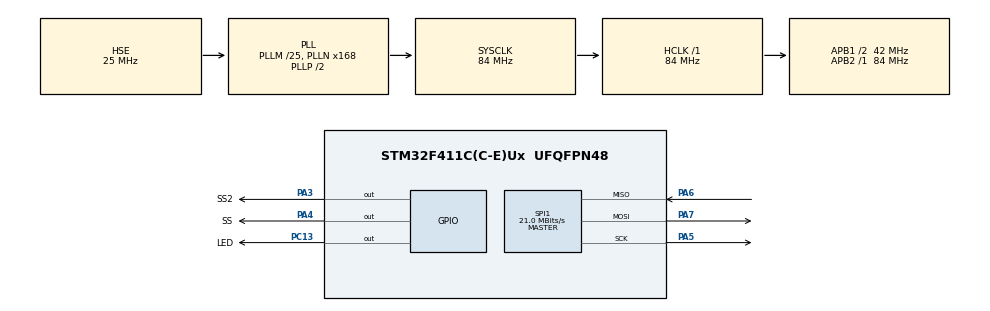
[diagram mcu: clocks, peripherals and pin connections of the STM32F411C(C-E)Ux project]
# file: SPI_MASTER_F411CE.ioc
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Dma.Request0=SPI1_RX
Dma.SPI1_RX.0.Direction=DMA_PERIPH_TO_MEMORY
Dma.SPI1_RX.0.FIFOMode=DMA_FIFOMODE_DISABLE
Dma.SPI1_RX.0.Instance=DMA2_Stream0
Dma.SPI1_RX.0.MemDataAlignment=DMA_MDATAALIGN_BYTE
Dma.SPI1_RX.0.MemInc=DMA_MINC_DISABLE
Dma.SPI1_RX.0.Mode=DMA_NORMAL
Dma.SPI1_RX.0.PeriphDataAlignment=DMA_PDATAALIGN_BYTE
Dma.SPI1_RX.0.PeriphInc=DMA_PINC_DISABLE
Dma.SPI1_RX.0.Priority=DMA_PRIORITY_VERY_HIGH
Mcu.Family=STM32F4
Mcu.Name=STM32F411C(C-E)Ux
Mcu.Package=UFQFPN48
NVIC.DMA2_Stream0_IRQn=true\:0\:0\:false\:false\:true\:false\:true\:true
NVIC.PriorityGroup=NVIC_PRIORITYGROUP_4
PA13.Mode=Serial_Wire
PA13.Signal=SYS_JTMS-SWDIO
PA14.Mode=Serial_Wire
PA14.Signal=SYS_JTCK-SWCLK
PA3.GPIO_Label=SS2
PA3.GPIO_Speed=GPIO_SPEED_FREQ_MEDIUM
PA3.Signal=GPIO_Output
PA4.GPIO_Label=SS
PA4.GPIO_Speed=GPIO_SPEED_FREQ_MEDIUM
PA4.Signal=GPIO_Output
PA5.Mode=Full_Duplex_Master
PA5.Signal=SPI1_SCK
PA6.Mode=Full_Duplex_Master
PA6.Signal=SPI1_MISO
PA7.Mode=Full_Duplex_Master
PA7.Signal=SPI1_MOSI
PC13-ANTI_TAMP.GPIO_Label=LED
PC13-ANTI_TAMP.Signal=GPIO_Output
PH0\ -\ OSC_IN.Mode=HSE-External-Oscillator
PH0\ -\ OSC_IN.Signal=RCC_OSC_IN
PH1\ -\ OSC_OUT.Mode=HSE-External-Oscillator
PH1\ -\ OSC_OUT.Signal=RCC_OSC_OUT
ProjectManager.HeapSize=0x200
ProjectManager.StackSize=0x400
ProjectManager.TargetToolchain=STM32CubeIDE
RCC.48MHZClocksFreq_Value=42000000
RCC.AHBFreq_Value=84000000
RCC.APB1CLKDivider=RCC_HCLK_DIV2
RCC.APB1Freq_Value=42000000
RCC.APB1TimFreq_Value=84000000
RCC.APB2Freq_Value=84000000
RCC.APB2TimFreq_Value=84000000
RCC.CortexFreq_Value=84000000
RCC.HCLKFreq_Value=84000000
RCC.HSE_VALUE=25000000
RCC.HSI_VALUE=16000000
RCC.LSE_VALUE=32768
RCC.PLLM=25
RCC.PLLN=168
RCC.PLLSourceVirtual=RCC_PLLSOURCE_HSE
RCC.SYSCLKFreq_VALUE=84000000
RCC.SYSCLKSource=RCC_SYSCLKSOURCE_PLLCLK
RCC.VCOOutputFreq_Value=168000000
SPI1.BaudRatePrescaler=SPI_BAUDRATEPRESCALER_4
SPI1.CalculateBaudRate=21.0 MBits/s
SPI1.Direction=SPI_DIRECTION_2LINES
SPI1.Mode=SPI_MODE_MASTER
SPI1.VirtualType=VM_MASTER
board=custom

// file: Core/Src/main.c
/* USER CODE BEGIN Header */
/**
  ******************************************************************************
  * @file           : main.c
  * @brief          : Main program body
  ******************************************************************************
  * @attention
  *
  * <h2><center>&copy; Copyright (c) 2021 STMicroelectronics.
  * All rights reserved.</center></h2>
  *
  * This software component is licensed by ST under BSD 3-Clause license,
  * the "License"; You may not use this file except in compliance with the
  * License. You may obtain a copy of the License at:
  *                        opensource.org/licenses/BSD-3-Clause
  *
  ******************************************************************************
  */
/* USER CODE END Header */
#include "main.h"

SPI_HandleTypeDef hspi1;
DMA_HandleTypeDef hdma_spi1_rx;

/* USER CODE BEGIN PV */
uint32_t lamanya;
uint8_t dataRx[4];
uint8_t dataTx[10]={1,2,3,4,5,6,7,8,9,10};
/* USER CODE END PV */

void SystemClock_Config(void);
static void MX_GPIO_Init(void);
static void MX_DMA_Init(void);
static void MX_SPI1_Init(void);

int main(void)
{

  /* MCU Configuration--------------------------------------------------------*/

  /* Reset of all peripherals, Initializes the Flash interface and the Systick. */
  HAL_Init();

  /* Configure the system clock */
  SystemClock_Config();

  /* Initialize all configured peripherals */
  MX_GPIO_Init();
  MX_DMA_Init();
  MX_SPI1_Init();
  /* USER CODE BEGIN 2 */
  HAL_SPI_Receive_DMA(&hspi1, (uint8_t*)&dataRx, 2);
  /* USER CODE END 2 */

  /* Infinite loop */
  /* USER CODE BEGIN WHILE */
  while (1)
  {

	  if(HAL_GetTick()-lamanya>1){
	  	  HAL_GPIO_WritePin(SS_GPIO_Port, SS_Pin, GPIO_PIN_RESET);
	  	  HAL_SPI_Receive_DMA(&hspi1, (uint8_t*)&dataRx[0], 1);
	  	  HAL_SPI_Transmit(&hspi1, (uint8_t*)&dataTx, 10, 0);
	  	  HAL_GPIO_WritePin(SS_GPIO_Port, SS_Pin, GPIO_PIN_SET);
	  	  HAL_GPIO_WritePin(SS2_GPIO_Port, SS2_Pin, GPIO_PIN_RESET);
	  	  HAL_SPI_Receive_DMA(&hspi1, (uint8_t*)&dataRx[1], 1);
	  	  HAL_SPI_Transmit(&hspi1, (uint8_t*)&dataTx, 10, 0);
		  HAL_GPIO_WritePin(SS2_GPIO_Port, SS2_Pin, GPIO_PIN_SET);
	  	  lamanya = HAL_GetTick();
	  	  }
	  	  //HAL_Delay(1);

	  	  if(dataRx[0]==2 && dataRx[1] == 3)HAL_GPIO_WritePin(LED_GPIO_Port, LED_Pin, 0);
	  	  else HAL_GPIO_WritePin(LED_GPIO_Port, LED_Pin, 1);
    /* USER CODE END WHILE */

  }
}

void SystemClock_Config(void)
{
  RCC_OscInitTypeDef RCC_OscInitStruct = {0};
  RCC_ClkInitTypeDef RCC_ClkInitStruct = {0};

  /** Configure the main internal regulator output voltage
  */
  __HAL_RCC_PWR_CLK_ENABLE();
  __HAL_PWR_VOLTAGESCALING_CONFIG(PWR_REGULATOR_VOLTAGE_SCALE1);
  /** Initializes the RCC Oscillators according to the specified parameters
  * in the RCC_OscInitTypeDef structure.
  */
  RCC_OscInitStruct.OscillatorType = RCC_OSCILLATORTYPE_HSE;
  RCC_OscInitStruct.HSEState = RCC_HSE_ON;
  RCC_OscInitStruct.PLL.PLLState = RCC_PLL_ON;
  RCC_OscInitStruct.PLL.PLLSource = RCC_PLLSOURCE_HSE;
  RCC_OscInitStruct.PLL.PLLM = 25;
  RCC_OscInitStruct.PLL.PLLN = 168;
  RCC_OscInitStruct.PLL.PLLP = RCC_PLLP_DIV2;
  RCC_OscInitStruct.PLL.PLLQ = 4;
  if (HAL_RCC_OscConfig(&RCC_OscInitStruct) != HAL_OK)
  {
    Error_Handler();
  }
  /** Initializes the CPU, AHB and APB buses clocks
  */
  RCC_ClkInitStruct.ClockType = RCC_CLOCKTYPE_HCLK|RCC_CLOCKTYPE_SYSCLK
                              |RCC_CLOCKTYPE_PCLK1|RCC_CLOCKTYPE_PCLK2;
  RCC_ClkInitStruct.SYSCLKSource = RCC_SYSCLKSOURCE_PLLCLK;
  RCC_ClkInitStruct.AHBCLKDivider = RCC_SYSCLK_DIV1;
  RCC_ClkInitStruct.APB1CLKDivider = RCC_HCLK_DIV2;
  RCC_ClkInitStruct.APB2CLKDivider = RCC_HCLK_DIV1;

  if (HAL_RCC_ClockConfig(&RCC_ClkInitStruct, FLASH_LATENCY_2) != HAL_OK)
  {
    Error_Handler();
  }
}

static void MX_SPI1_Init(void)
{

  /* SPI1 parameter configuration*/
  hspi1.Instance = SPI1;
  hspi1.Init.Mode = SPI_MODE_MASTER;
  hspi1.Init.Direction = SPI_DIRECTION_2LINES;
  hspi1.Init.DataSize = SPI_DATASIZE_8BIT;
  hspi1.Init.CLKPolarity = SPI_POLARITY_LOW;
  hspi1.Init.CLKPhase = SPI_PHASE_1EDGE;
  hspi1.Init.NSS = SPI_NSS_SOFT;
  hspi1.Init.BaudRatePrescaler = SPI_BAUDRATEPRESCALER_4;
  hspi1.Init.FirstBit = SPI_FIRSTBIT_MSB;
  hspi1.Init.TIMode = SPI_TIMODE_DISABLE;
  hspi1.Init.CRCCalculation = SPI_CRCCALCULATION_DISABLE;
  hspi1.Init.CRCPolynomial = 10;
  if (HAL_SPI_Init(&hspi1) != HAL_OK)
  {
    Error_Handler();
  }

}

static void MX_DMA_Init(void)
{

  /* DMA controller clock enable */
  __HAL_RCC_DMA2_CLK_ENABLE();

  /* DMA interrupt init */
  /* DMA2_Stream0_IRQn interrupt configuration */
  HAL_NVIC_SetPriority(DMA2_Stream0_IRQn, 0, 0);
  HAL_NVIC_EnableIRQ(DMA2_Stream0_IRQn);

}

static void MX_GPIO_Init(void)
{
  GPIO_InitTypeDef GPIO_InitStruct = {0};

  /* GPIO Ports Clock Enable */
  __HAL_RCC_GPIOC_CLK_ENABLE();
  __HAL_RCC_GPIOH_CLK_ENABLE();
  __HAL_RCC_GPIOA_CLK_ENABLE();

  /*Configure GPIO pin Output Level */
  HAL_GPIO_WritePin(LED_GPIO_Port, LED_Pin, GPIO_PIN_RESET);

  /*Configure GPIO pin Output Level */
  HAL_GPIO_WritePin(GPIOA, SS2_Pin|SS_Pin, GPIO_PIN_RESET);

  /*Configure GPIO pin : LED_Pin */
  GPIO_InitStruct.Pin = LED_Pin;
  GPIO_InitStruct.Mode = GPIO_MODE_OUTPUT_PP;
  GPIO_InitStruct.Pull = GPIO_NOPULL;
  GPIO_InitStruct.Speed = GPIO_SPEED_FREQ_LOW;
  HAL_GPIO_Init(LED_GPIO_Port, &GPIO_InitStruct);

  /*Configure GPIO pins : SS2_Pin SS_Pin */
  GPIO_InitStruct.Pin = SS2_Pin|SS_Pin;
  GPIO_InitStruct.Mode = GPIO_MODE_OUTPUT_PP;
  GPIO_InitStruct.Pull = GPIO_NOPULL;
  GPIO_InitStruct.Speed = GPIO_SPEED_FREQ_MEDIUM;
  HAL_GPIO_Init(GPIOA, &GPIO_InitStruct);

}

void Error_Handler(void)
{
  __disable_irq();
  while (1)
  {
  }
}

/************************ (C) COPYRIGHT STMicroelectronics *****END OF FILE****/
